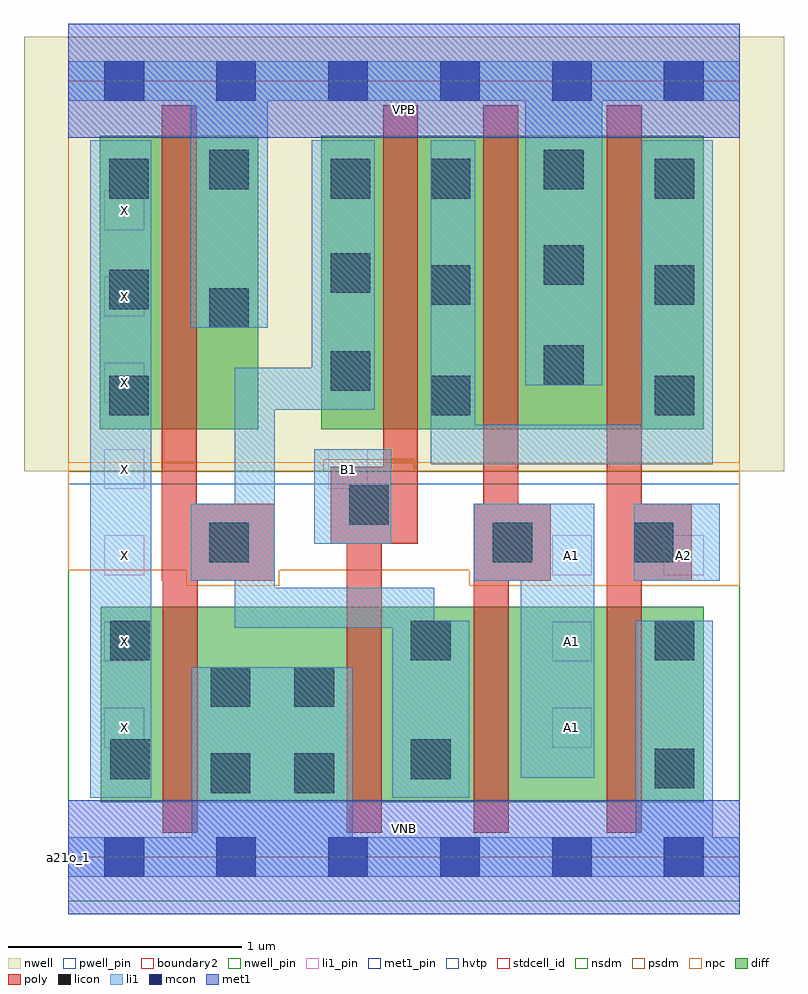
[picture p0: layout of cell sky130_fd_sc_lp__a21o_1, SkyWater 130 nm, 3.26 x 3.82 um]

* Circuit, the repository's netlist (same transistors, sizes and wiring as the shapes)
* Copyright 2020 The SkyWater PDK Authors
*
* Licensed under the Apache License, Version 2.0 (the "License");
* you may not use this file except in compliance with the License.
* You may obtain a copy of the License at
*
*     https://www.apache.org/licenses/LICENSE-2.0
*
* Unless required by applicable law or agreed to in writing, software
* distributed under the License is distributed on an "AS IS" BASIS,
* WITHOUT WARRANTIES OR CONDITIONS OF ANY KIND, either express or implied.
* See the License for the specific language governing permissions and
* limitations under the License.
*
* SPDX-License-Identifier: Apache-2.0

.SUBCKT sky130_fd_sc_lp__a21o_1 A1 A2 B1 VGND VNB VPB VPWR X
*.PININFO A1:I A2:I B1:I VGND:I VNB:I VPB:I VPWR:I X:O
MMPA0 pndA A1 VPWR VPB sky130_fd_pr__pfet_01v8_hvt m=1 w=1.26U l=0.15U mult=1 sa=0.265
+ sb=0.265 sd=0.28 area=0.063 perim=1.14
MMPA1 pndA A2 VPWR VPB sky130_fd_pr__pfet_01v8_hvt m=1 w=1.26U l=0.15U mult=1 sa=0.265
+ sb=0.265 sd=0.28 area=0.063 perim=1.14
MMPB0 y B1 pndA VPB sky130_fd_pr__pfet_01v8_hvt m=1 w=1.26U l=0.15U mult=1 sa=0.265
+ sb=0.265 sd=0.28 area=0.063 perim=1.14
MMIPX X y VPWR VPB sky130_fd_pr__pfet_01v8_hvt m=1 w=1.26U l=0.15U mult=1 sa=0.265
+ sb=0.265 sd=0.28 area=0.063 perim=1.14
MMNA0 y A1 sndA1 VNB sky130_fd_pr__nfet_01v8 m=1 w=0.84U l=0.15U mult=1 sa=0.265
+ sb=0.265 sd=0.28 area=0.063 perim=1.14
MMNA1 sndA1 A2 VGND VNB sky130_fd_pr__nfet_01v8 m=1 w=0.84U l=0.15U mult=1 sa=0.265
+ sb=0.265 sd=0.28 area=0.063 perim=1.14
MMNB0 y B1 VGND VNB sky130_fd_pr__nfet_01v8 m=1 w=0.84U l=0.15U mult=1 sa=0.265
+ sb=0.265 sd=0.28 area=0.063 perim=1.14
MMINX X y VGND VNB sky130_fd_pr__nfet_01v8 m=1 w=0.84U l=0.15U mult=1 sa=0.265
+ sb=0.265 sd=0.28 area=0.063 perim=1.14
.ENDS sky130_fd_sc_lp__a21o_1

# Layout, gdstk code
import gdstk
lib = gdstk.Library(unit=1e-6, precision=1e-09)
def R(c, l, rs):  # rectangles x0, y0, x1, y1
    for r in rs: c.add(gdstk.rectangle(r[:2], r[2:], *l))
def A(c, l, x, y, w, h, nx, ny, dx, dy):  # array of equal rectangles
    R(c, l, [(x+i*dx, y+j*dy, x+i*dx+w, y+j*dy+h) for i in range(nx) for j in range(ny)])
def P(c, l, *ps):  # polygons
    for p in ps: c.add(gdstk.Polygon(p, *l))
nwell_pin = (64, 16)
nwell = (64, 20)
diff = (65, 20)
poly = (66, 20)
licon = (66, 44)
li1_pin = (67, 16)
li1 = (67, 20)
mcon = (67, 44)
met1_pin = (68, 16)
met1 = (68, 20)
hvtp = (78, 44)
stdcell_id = (81, 4)
nsdm = (93, 44)
psdm = (94, 20)
npc = (95, 20)
pwell_pin = (122, 16)
boundary2 = (236, 0)

sky130_fd_sc_lp__a21o_1 = lib.new_cell('sky130_fd_sc_lp__a21o_1')
R(sky130_fd_sc_lp__a21o_1, nwell_pin, [(0,3.085,2.88,3.33)])
R(sky130_fd_sc_lp__a21o_1, nwell, [(-0.19,1.655,3.07,3.52)])
R(sky130_fd_sc_lp__a21o_1, diff, [(0.14,0.235,2.725,1.075), (0.135,1.835,0.815,3.095), (1.085,1.835,2.725,3.095)])
P(sky130_fd_sc_lp__a21o_1, poly, [(0.885,1.515),(0.55,1.515),(0.55,3.225),(0.4,3.225),(0.4,1.185),(0.405,1.185),(0.405,0.105),(0.555,0.105),(0.555,1.185),(0.885,1.185)],
  [(1.5,3.225),(1.35,3.225),(1.35,1.675),(1.125,1.675),(1.125,1.345),(1.195,1.345),(1.195,0.105),(1.345,0.105),(1.345,1.345),(1.5,1.345)],
  [(2.07,1.515),(1.93,1.515),(1.93,3.225),(1.78,3.225),(1.78,1.515),(1.74,1.515),(1.74,0.105),(1.89,0.105),(1.89,1.185),(2.07,1.185)],
  [(2.675,1.515),(2.46,1.515),(2.46,3.225),(2.31,3.225),(2.31,0.105),(2.46,0.105),(2.46,1.185),(2.675,1.185)])
R(sky130_fd_sc_lp__a21o_1, licon, [(0.61,0.275,0.78,0.445), (0.97,0.275,1.14,0.445), (2.515,0.295,2.685,0.465), (0.18,0.335,0.35,0.505), (1.47,0.335,1.64,0.505), (0.61,0.645,0.78,0.815), (0.97,0.645,1.14,0.815), (0.18,0.845,0.35,1.015), (1.47,0.845,1.64,1.015), (2.515,0.845,2.685,1.015), (0.605,1.265,0.775,1.435), (1.82,1.265,1.99,1.435), (2.425,1.265,2.595,1.435), (1.205,1.425,1.375,1.595), (0.175,1.895,0.345,2.065), (1.555,1.895,1.725,2.065), (2.515,1.895,2.685,2.065), (1.125,2,1.295,2.17), (2.04,2.025,2.21,2.195), (0.605,2.27,0.775,2.44), (0.175,2.35,0.345,2.52), (1.555,2.37,1.725,2.54), (2.515,2.37,2.685,2.54), (1.125,2.42,1.295,2.59), (2.04,2.455,2.21,2.625), (0.175,2.825,0.345,2.995), (1.125,2.825,1.295,2.995), (1.555,2.825,1.725,2.995), (2.515,2.825,2.685,2.995), (0.605,2.865,0.775,3.035), (2.04,2.865,2.21,3.035)])
A(sky130_fd_sc_lp__a21o_1, li1_pin, 0.155, 0.47, 0.17, 0.17, 1, 7, 0, 0.37)
A(sky130_fd_sc_lp__a21o_1, li1_pin, 2.075, 0.47, 0.17, 0.17, 1, 3, 0, 0.37)
R(sky130_fd_sc_lp__a21o_1, li1_pin, [(2.555,1.21,2.725,1.38), (1.115,1.58,1.285,1.75)])
R(sky130_fd_sc_lp__a21o_1, li1, [(0.095,0.255,0.355,3.075), (2.425,1.185,2.795,1.515), (1.055,1.345,1.385,1.75)])
P(sky130_fd_sc_lp__a21o_1, li1, [(0.525,2.27),(0.525,3.245),(0,3.245),(0,3.415),(2.88,3.415),(2.88,3.245),(2.29,3.245),(2.29,2.025),(1.96,2.025),(1.96,3.245),(0.855,3.245),(0.855,2.27)],
  [(2.435,0.085),(2.435,1.015),(2.765,1.015),(2.765,0.085),(2.88,0.085),(2.88,-0.085),(0,-0.085),(0,0.085),(0.53,0.085),(0.53,0.815),(1.22,0.815),(1.22,0.085)],
  [(1.745,1.855),(2.46,1.855),(2.46,3.075),(2.765,3.075),(2.765,1.685),(1.555,1.685),(1.555,3.075),(1.745,3.075)],
  [(1.72,1.015),(1.57,1.015),(1.57,1.155),(0.885,1.155),(0.885,1.92),(1.315,1.92),(1.315,3.075),(1.045,3.075),(1.045,2.1),(0.715,2.1),(0.715,1.515),(0.525,1.515),(0.525,1.185),(0.715,1.185),(0.715,0.985),(1.39,0.985),(1.39,0.255),(1.72,0.255)],
  [(2.255,1.515),(1.74,1.515),(1.74,1.185),(1.94,1.185),(1.94,0.34),(2.255,0.34)])
A(sky130_fd_sc_lp__a21o_1, mcon, 0.155, -0.085, 0.17, 0.17, 6, 2, 0.48, 3.33)
R(sky130_fd_sc_lp__a21o_1, met1_pin, [(0,0,2.88,0.245), (0,3.085,2.88,3.33)])
R(sky130_fd_sc_lp__a21o_1, met1, [(0,-0.245,2.88,0.245), (0,3.085,2.88,3.575)])
R(sky130_fd_sc_lp__a21o_1, hvtp, [(0,1.6,2.88,3.33)])
R(sky130_fd_sc_lp__a21o_1, stdcell_id, [(0,0,2.88,3.33)])
R(sky130_fd_sc_lp__a21o_1, nsdm, [(0,-0.19,2.88,1.655)])
P(sky130_fd_sc_lp__a21o_1, psdm, [(2.88,3.52),(0,3.52),(0,1.655),(1.095,1.655),(1.095,1.705),(1.485,1.705),(1.485,1.655),(2.88,1.655)])
P(sky130_fd_sc_lp__a21o_1, npc, [(2.88,1.695),(0,1.695),(0,1.23),(0.505,1.23),(0.505,1.165),(0.905,1.165),(0.905,1.23),(1.72,1.23),(1.72,1.165),(2.88,1.165)])
R(sky130_fd_sc_lp__a21o_1, pwell_pin, [(0,0,2.88,0.245)])
R(sky130_fd_sc_lp__a21o_1, boundary2, [(0,0,2.88,3.33)])
sky130_fd_sc_lp__a21o_1.add(gdstk.Label('VNB', (1.44,0.123), layer=64, texttype=59))
sky130_fd_sc_lp__a21o_1.add(gdstk.Label('VPB', (1.44,3.208), layer=64, texttype=5))
sky130_fd_sc_lp__a21o_1.add(gdstk.Label('a21o_1', (0,0), layer=83, texttype=44))
sky130_fd_sc_lp__a21o_1.add(gdstk.Label('VPWR', (1.44,3.208), layer=68, texttype=5))
sky130_fd_sc_lp__a21o_1.add(gdstk.Label('VGND', (1.44,0.123), layer=68, texttype=5))
sky130_fd_sc_lp__a21o_1.add(gdstk.Label('A1', (2.16,0.555), layer=67, texttype=5))
sky130_fd_sc_lp__a21o_1.add(gdstk.Label('A1', (2.16,0.925), layer=67, texttype=5))
sky130_fd_sc_lp__a21o_1.add(gdstk.Label('A1', (2.16,1.295), layer=67, texttype=5))
sky130_fd_sc_lp__a21o_1.add(gdstk.Label('A2', (2.64,1.295), layer=67, texttype=5))
sky130_fd_sc_lp__a21o_1.add(gdstk.Label('X', (0.24,0.555), layer=67, texttype=5))
sky130_fd_sc_lp__a21o_1.add(gdstk.Label('X', (0.24,0.925), layer=67, texttype=5))
sky130_fd_sc_lp__a21o_1.add(gdstk.Label('X', (0.24,1.295), layer=67, texttype=5))
sky130_fd_sc_lp__a21o_1.add(gdstk.Label('X', (0.24,1.665), layer=67, texttype=5))
sky130_fd_sc_lp__a21o_1.add(gdstk.Label('X', (0.24,2.035), layer=67, texttype=5))
sky130_fd_sc_lp__a21o_1.add(gdstk.Label('X', (0.24,2.405), layer=67, texttype=5))
sky130_fd_sc_lp__a21o_1.add(gdstk.Label('X', (0.24,2.775), layer=67, texttype=5))
sky130_fd_sc_lp__a21o_1.add(gdstk.Label('B1', (1.2,1.665), layer=67, texttype=5))

lib.write_gds('sky130_fd_sc_lp__a21o_1.gds')
